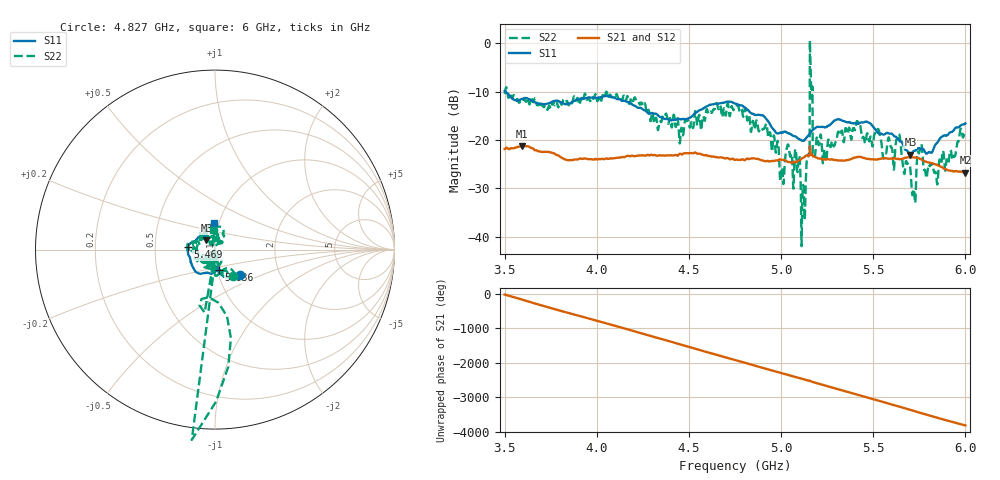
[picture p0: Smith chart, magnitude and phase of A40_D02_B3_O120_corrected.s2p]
! Created with skrf 1.9.0 (http://scikit-rf.org).
# Hz S RI R 50.0
!freq ReS11 ImS11 ReS21 ImS21 ReS12 ImS12 ReS22 ImS22
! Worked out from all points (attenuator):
!   1601 points, 3.5 GHz to 6 GHz, reference 50 ohm
!   highest |S21| = -21.25 dB at 3.594 GHz (marker M1); lowest = -26.8 dB at 6 GHz (marker M2)
!   lowest |S11| = -23.0 dB at 5.702 GHz (marker M3), VSWR 1.15, Z = 45.2 + j4.71 ohm
!   |S11| at or under -10 dB: 3.504 GHz to end of sweep
!   |S22| runs from -42.0 to 0.6 dB; largest |S21 - S12| = 0.0011
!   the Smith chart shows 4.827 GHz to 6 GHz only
!   S11 on the Smith chart (normalised r, x): 4.827 GHz: 1.26, -0.37; 5.036 GHz: 1.01, -0.24; 5.469 GHz: 0.73, +0.02; 6 GHz: 0.95, +0.29
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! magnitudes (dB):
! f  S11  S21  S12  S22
! 3.5 GHz  -9.9  -21.9  -21.9  -10.5
! 3.594 GHz  -11.5  -21.3  -21.3  -12.3
! 3.917 GHz  -11.5  -23.9  -23.9  -11.3
! 4.334 GHz  -15.0  -23.2  -23.2  -17.7
! 4.75 GHz  -12.5  -24.1  -24.1  -12.9
! 4.827 GHz  -14.1  -24.0  -23.9  -14.9
! 4.972 GHz  -18.5  -24.3  -24.2  -22.7
! 5.005 GHz  -18.5  -24.1  -24.1  -25.7
! 5.036 GHz  -18.6  -24.5  -24.5  -21.0
! 5.091 GHz  -19.7  -24.4  -24.4  -26.3
! 5.12 GHz  -20.2  -23.7  -23.6  -29.3
! 5.167 GHz  -18.1  -23.1  -23.0  -10.9
! 5.184 GHz  -17.6  -23.6  -23.5  -23.2
! 5.236 GHz  -17.4  -24.0  -24.0  -21.9
! 5.469 GHz  -16.3  -24.0  -23.9  -18.7
! 5.584 GHz  -18.7  -23.9  -23.9  -19.5
! 5.638 GHz  -20.0  -23.9  -23.9  -18.9
! 5.702 GHz  -23.0  -23.6  -23.6  -26.2
! 5.72 GHz  -22.3  -23.6  -23.6  -30.2
! 5.752 GHz  -21.8  -23.9  -23.8  -22.3
! 5.841 GHz  -20.9  -25.1  -25.1  -27.2
! 6 GHz  -16.6  -26.8  -26.7  -19.3
